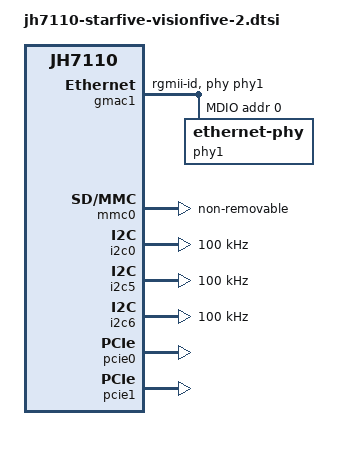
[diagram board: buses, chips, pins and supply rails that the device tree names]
// SPDX-License-Identifier: GPL-2.0 OR MIT
/*
 * Copyright (C) 2022 StarFive Technology Co., Ltd.
 * Copyright (C) 2022 Emil Renner Berthing <kernel@esmil.dk>
 */

/dts-v1/;
#include "jh7110-common.dtsi"

/ {
	aliases {
		ethernet1 = &gmac1;
	};
};

&gmac1 {
	phy-handle = <&phy1>;
	phy-mode = "rgmii-id";
	status = "okay";

	mdio {
		#address-cells = <1>;
		#size-cells = <0>;
		compatible = "snps,dwmac-mdio";

		phy1: ethernet-phy@1 {
			reg = <0>;
		};
	};
};

&mmc0 {
	non-removable;
};

&i2c0 {
	clock-frequency = <100000>;
	i2c-sda-hold-time-ns = <300>;
	i2c-sda-falling-time-ns = <510>;
	i2c-scl-falling-time-ns = <510>;
	status = "okay";
};

&i2c5 {
	clock-frequency = <100000>;
	i2c-sda-hold-time-ns = <300>;
	i2c-sda-falling-time-ns = <510>;
	i2c-scl-falling-time-ns = <510>;
	status = "okay";
};

&i2c6 {
	clock-frequency = <100000>;
	i2c-sda-hold-time-ns = <300>;
	i2c-sda-falling-time-ns = <510>;
	i2c-scl-falling-time-ns = <510>;
	status = "okay";
};

&pcie0 {
	status = "okay";
};

&pcie1 {
	status = "okay";
};
